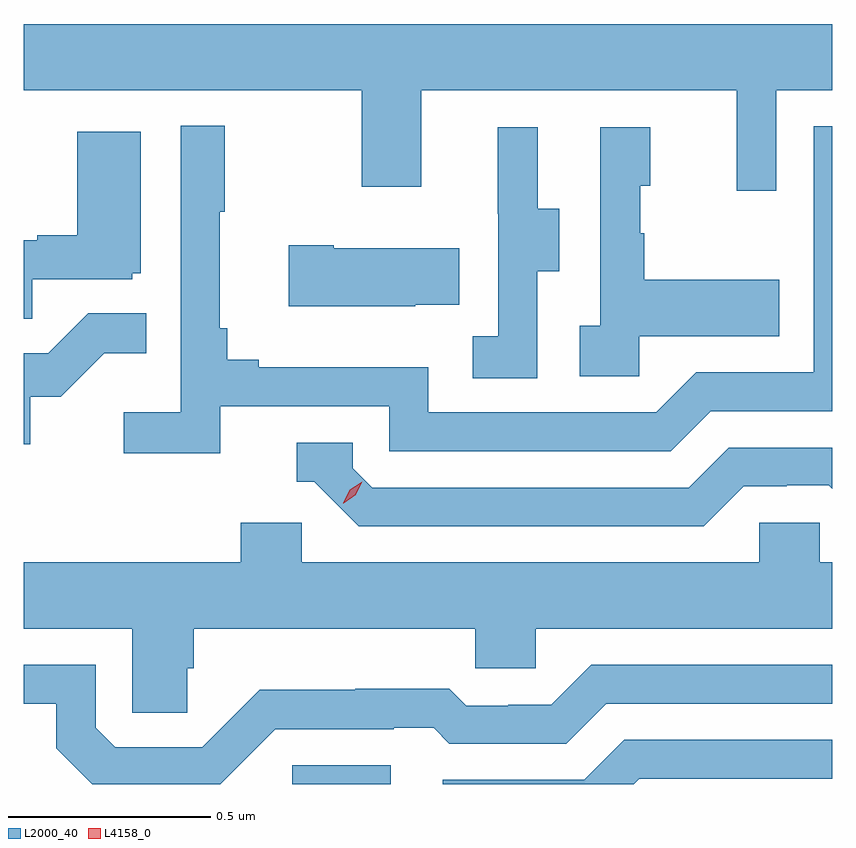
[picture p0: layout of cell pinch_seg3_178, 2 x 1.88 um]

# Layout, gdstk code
import gdstk
lib = gdstk.Library(unit=1e-6, precision=1e-09)
def R(c, l, rs):  # rectangles x0, y0, x1, y1
    for r in rs: c.add(gdstk.rectangle(r[:2], r[2:], *l))
def P(c, l, *ps):  # polygons
    for p in ps: c.add(gdstk.Polygon(p, *l))
L2000_40 = (2000, 40)
L4158_0 = (4158, 0)

pinch_seg3_178 = lib.new_cell('pinch_seg3_178')
R(pinch_seg3_178, L2000_40, [(999.042,735.164,999.286,735.21)])
P(pinch_seg3_178, L2000_40, [(1000.239,736.88),(1000.378,736.88),(1000.378,737.044),(998.378,737.044),(998.378,736.88),(999.214,736.88),(999.214,736.641),(999.361,736.641),(999.361,736.88),(1000.142,736.88),(1000.142,736.632),(1000.239,736.632)],
  [(998.864,736.098),(999.282,736.098),(999.282,735.987),(999.979,735.987),(1000.078,736.086),(1000.378,736.086),(1000.378,736.791),(1000.332,736.791),(1000.332,736.182),(1000.041,736.182),(999.942,736.083),(999.378,736.083),(999.378,736.195),(998.959,736.195),(998.959,736.214),(998.882,736.214),(998.882,736.291),(998.863,736.291),(998.863,736.579),(998.875,736.579),(998.875,736.792),(998.766,736.792),(998.766,736.084),(998.625,736.084),(998.625,735.982),(998.864,735.982)],
  [(999.648,736.432),(999.703,736.432),(999.703,736.587),(999.649,736.587),(999.649,736.789),(999.551,736.789),(999.551,736.575),(999.552,736.575),(999.552,736.271),(999.489,736.271),(999.489,736.168),(999.648,736.168)],
  [(999.9,736.271),(1000.247,736.271),(1000.247,736.411),(999.913,736.411),(999.913,736.526),(999.903,736.526),(999.903,736.644),(999.928,736.644),(999.928,736.789),(999.804,736.789),(999.804,736.298),(999.753,736.298),(999.753,736.173),(999.9,736.173)],
  [(998.399,736.413),(998.646,736.413),(998.646,736.428),(998.668,736.428),(998.668,736.777),(998.51,736.777),(998.51,736.522),(998.411,736.522),(998.411,736.509),(998.378,736.509),(998.378,736.315),(998.399,736.315)],
  [(999.347,736.349),(999.455,736.349),(999.455,736.489),(999.145,736.489),(999.145,736.497),(999.033,736.497),(999.033,736.346),(999.347,736.346)],
  [(998.394,736.122),(998.47,736.122),(998.577,736.229),(998.681,736.229),(998.681,736.328),(998.537,736.328),(998.439,736.23),(998.378,736.23),(998.378,736.005),(998.394,736.005)],
  [(1000.159,735.9),(1000.266,735.9),(1000.266,735.903),(1000.369,735.903),(1000.378,735.894),(1000.378,735.996),(1000.122,735.996),(1000.023,735.897),(999.24,735.897),(999.192,735.945),(999.192,736.008),(999.053,736.008),(999.053,735.912),(999.096,735.912),(999.207,735.801),(1000.06,735.801)],
  [(998.783,735.45),(998.798,735.45),(998.798,735.548),(999.495,735.548),(999.495,735.45),(999.645,735.45),(999.645,735.548),(1000.378,735.548),(1000.378,735.712),(1000.347,735.712),(1000.347,735.81),(1000.197,735.81),(1000.197,735.712),(999.066,735.712),(999.066,735.81),(998.915,735.81),(998.915,735.712),(998.378,735.712),(998.378,735.548),(998.646,735.548),(998.646,735.34),(998.783,735.34)],
  [(999,735.3),(999.293,735.3),(999.293,735.303),(999.392,735.303),(999.431,735.264),(999.72,735.264),(999.819,735.363),(1000.378,735.363),(1000.378,735.459),(999.782,735.459),(999.683,735.36),(999.576,735.36),(999.576,735.357),(999.473,735.357),(999.431,735.4),(999.198,735.4),(999.198,735.397),(998.962,735.397),(998.82,735.255),(998.604,735.255),(998.556,735.303),(998.556,735.459),(998.378,735.459),(998.378,735.363),(998.459,735.363),(998.459,735.253),(998.548,735.164),(998.864,735.164)],
  [(999.9,735.177),(1000.378,735.177),(1000.378,735.273),(999.863,735.273),(999.764,735.174),(999.414,735.174),(999.414,735.164),(999.887,735.164)])
P(pinch_seg3_178, L4158_0, [(999.168,735.859),(999.168,735.859),(999.184,735.892),(999.215,735.912),(999.215,735.912),(999.215,735.912),(999.199,735.879),(999.169,735.859)])

lib.write_gds('pinch_seg3_178.gds')
